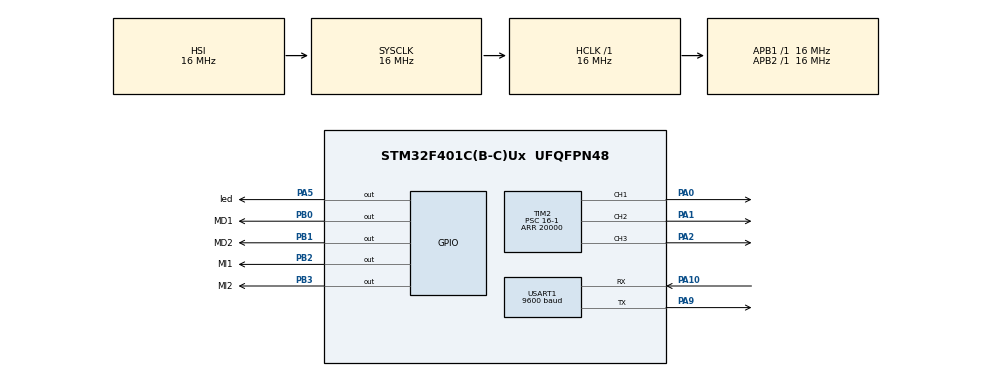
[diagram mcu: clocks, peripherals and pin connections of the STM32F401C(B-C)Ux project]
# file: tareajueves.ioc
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Dma.Request0=USART1_RX
Dma.USART1_RX.0.Direction=DMA_PERIPH_TO_MEMORY
Dma.USART1_RX.0.FIFOMode=DMA_FIFOMODE_DISABLE
Dma.USART1_RX.0.Instance=DMA2_Stream2
Dma.USART1_RX.0.MemDataAlignment=DMA_MDATAALIGN_BYTE
Dma.USART1_RX.0.MemInc=DMA_MINC_ENABLE
Dma.USART1_RX.0.Mode=DMA_NORMAL
Dma.USART1_RX.0.PeriphDataAlignment=DMA_PDATAALIGN_BYTE
Dma.USART1_RX.0.PeriphInc=DMA_PINC_DISABLE
Dma.USART1_RX.0.Priority=DMA_PRIORITY_LOW
Mcu.Family=STM32F4
Mcu.Name=STM32F401C(B-C)Ux
Mcu.Package=UFQFPN48
NVIC.DMA2_Stream2_IRQn=true\:0\:0\:false\:false\:true\:false\:true\:true
NVIC.PriorityGroup=NVIC_PRIORITYGROUP_4
NVIC.USART1_IRQn=true\:0\:0\:false\:false\:true\:true\:true\:true
PA0-WKUP.Signal=S_TIM2_CH1_ETR
PA1.Signal=S_TIM2_CH2
PA10.Mode=Asynchronous
PA10.Signal=USART1_RX
PA2.Signal=S_TIM2_CH3
PA5.GPIO_Label=led
PA5.Signal=GPIO_Output
PA9.Mode=Asynchronous
PA9.Signal=USART1_TX
PB0.GPIO_Label=MD1
PB0.Signal=GPIO_Output
PB1.GPIO_Label=MD2
PB1.Signal=GPIO_Output
PB2.GPIO_Label=MI1
PB2.Signal=GPIO_Output
PB3.GPIO_Label=MI2
PB3.Signal=GPIO_Output
ProjectManager.HeapSize=0x200
ProjectManager.StackSize=0x400
ProjectManager.TargetToolchain=STM32CubeIDE
RCC.AHBFreq_Value=16000000
RCC.APB1Freq_Value=16000000
RCC.APB2Freq_Value=16000000
RCC.CortexFreq_Value=16000000
RCC.HSE_VALUE=25000000
RCC.HSI_VALUE=16000000
RCC.LSE_VALUE=32768
RCC.SYSCLKFreq_VALUE=16000000
RCC.VCOOutputFreq_Value=192000000
SH.S_TIM2_CH1_ETR.0=TIM2_CH1,PWM Generation1 CH1
SH.S_TIM2_CH2.0=TIM2_CH2,PWM Generation2 CH2
SH.S_TIM2_CH3.0=TIM2_CH3,PWM Generation3 CH3
TIM2.Channel-PWM\ Generation1\ CH1=TIM_CHANNEL_1
TIM2.Channel-PWM\ Generation2\ CH2=TIM_CHANNEL_2
TIM2.Channel-PWM\ Generation3\ CH3=TIM_CHANNEL_3
TIM2.Period=20000
TIM2.Prescaler=16-1
USART1.BaudRate=9600
USART1.VirtualMode=VM_ASYNC
VP_TIM2_VS_ClockSourceINT.Mode=Internal
board=custom

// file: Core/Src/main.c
/* USER CODE BEGIN Header */
/**
  ******************************************************************************
  * @file           : main.c
  * @brief          : Main program body
  ******************************************************************************
  * @attention
  *
  * Copyright (c) 2023 STMicroelectronics.
  * All rights reserved.
  *
  * This software is licensed under terms that can be found in the LICENSE file
  * in the root directory of this software component.
  * If no LICENSE file comes with this software, it is provided AS-IS.
  *
  ******************************************************************************
  */
/* USER CODE END Header */
#include "main.h"

/* USER CODE BEGIN Includes */
#include "uart.h"
#include  "PWM.h"
#include "servos.h"
#include "delays.h"

#include "stdlib.h"
#include "stdint.h"
#include "stdio.h"
#include "string.h"

/* USER CODE END Includes */

TIM_HandleTypeDef htim2;

UART_HandleTypeDef huart1;
DMA_HandleTypeDef hdma_usart1_rx;

/* USER CODE BEGIN PV */
uint8_t trama_rx[100];
uint8_t texto[100];
uint8_t captura[30];
float  valor;
char flag_rx=0;
//Variables de reccion serial
#define buff_size 100  //colocar tamaño buffer recepcion
uint16_t buff_RX=buff_size;
uint8_t trama_rx[buff_size];

/* USER CODE END PV */

void SystemClock_Config(void);
static void MX_GPIO_Init(void);
static void MX_DMA_Init(void);
static void MX_TIM2_Init(void);
static void MX_USART1_UART_Init(void);

/* USER CODE BEGIN 0 */
void md_atras()
{
	HAL_GPIO_WritePin(MD1_GPIO_Port, MD1_Pin, 0);
	HAL_GPIO_WritePin(MD2_GPIO_Port, MD2_Pin, 1);

}

void md_adelante()
{
	HAL_GPIO_WritePin(MD1_GPIO_Port, MD1_Pin, 1);
	HAL_GPIO_WritePin(MD2_GPIO_Port, MD2_Pin, 0);

}

void md_stop()
{
	HAL_GPIO_WritePin(MD1_GPIO_Port, MD1_Pin, 0);
	HAL_GPIO_WritePin(MD2_GPIO_Port, MD2_Pin, 0);

}

void mi_adelante()
{
	HAL_GPIO_WritePin(MI1_GPIO_Port, MI1_Pin, 0);
	HAL_GPIO_WritePin(MI2_GPIO_Port, MI2_Pin, 1);

}

void mi_atras()
{
	HAL_GPIO_WritePin(MI1_GPIO_Port, MI1_Pin, 1);
	HAL_GPIO_WritePin(MI2_GPIO_Port, MI2_Pin, 0);

}

void mi_stop()
{
	HAL_GPIO_WritePin(MI1_GPIO_Port, MI1_Pin, 0);
	HAL_GPIO_WritePin(MI2_GPIO_Port, MI2_Pin, 0);

}

void ADELANTE()
{
	md_adelante();
	mi_adelante();
}

void ATRAS()
{
	md_atras();
	mi_atras();
}

void DERECHA()
{
	md_atras();
	mi_adelante();

}

void IZQUIERDA()
{
	md_adelante();
	mi_atras();

}

void stop ()
{
	md_stop();
	mi_stop();
}
void procesarx()
{
	if (strstr(trama_rx,"ADEL")) ADELANTE();
	else if (strstr(trama_rx,"ATRA")) ATRAS();
	else if (strstr(trama_rx,"STOP")) stop();
	else if (strstr(trama_rx,"DER"))
		{
		DERECHA();
		HAL_Delay(50);
		stop();
		}
	else if (strstr(trama_rx,"IZQ"))
		{
		IZQUIERDA();
		HAL_Delay(50);
	    stop();
		}

//VEL=50/*
	else if (strstr(trama_rx,"VEL="))
	{
      strcpy(texto, strtok(trama_rx, "="));  //inicia captura de tokens
      strcpy(texto, strtok(0, "/"));  //captura primer dato
       valor=atoi(texto)+atof(texto);
        pwm_valor(&PWM1, valor);
         pwm_valor(&PWM2, valor);

       	}
//SER=30/*
	else if (strstr(trama_rx,"SER="))
		{
	      strcpy(texto, strtok(trama_rx, "="));  //inicia captura de tokens
	      strcpy(texto, strtok(0, "/"));  //captura primer dato
	       valor=atoi(texto);
	       SERVO_ANG(&SERVO1, valor);

	       	}

}

/* USER CODE END 0 */

int main(void)
{

  /* MCU Configuration--------------------------------------------------------*/

  /* Reset of all peripherals, Initializes the Flash interface and the Systick. */
  HAL_Init();

  /* Configure the system clock */
  SystemClock_Config();

  /* Initialize all configured peripherals */
  MX_GPIO_Init();
  MX_DMA_Init();
  MX_TIM2_Init();
  MX_USART1_UART_Init();
  /* USER CODE BEGIN 2 */

  PWM_init(&PWMT2, PWM1_CH);
  PWM_init(&PWMT2, PWM2_CH);

  SERVO_init(&PWMT2, SERVO1_CH);

   pwm_valor(&PWM1,100);
   pwm_valor(&PWM2, 100);

   SERVO_ANG(&SERVO1, 0);

   memset(trama_rx,0,buff_RX);//limpia trama de recepcion por idle
   HAL_UARTEx_ReceiveToIdle_IT(&huart1, (uint8_t*)trama_rx, buff_RX);//inica la recepcion por idle

  /* USER CODE END 2 */

  /* Infinite loop */
  /* USER CODE BEGIN WHILE */
  while (1)
  {

	  //uartx_read_text(&huart1, trama_rx, '*',50);
	  if(flag_rx==1){
		  procesarx();
		  flag_rx=0;
		  memset(trama_rx,0,buff_RX);
		  HAL_UARTEx_ReceiveToIdle_IT(&huart1, (uint8_t*)trama_rx, buff_RX);
	  }
	  uartx_write_text(&huart1, "Hola");
	  HAL_GPIO_TogglePin(led_GPIO_Port, led_Pin);
	  HAL_Delay(200);

    /* USER CODE END WHILE */

  }
}

void SystemClock_Config(void)
{
  RCC_OscInitTypeDef RCC_OscInitStruct = {0};
  RCC_ClkInitTypeDef RCC_ClkInitStruct = {0};

  /** Configure the main internal regulator output voltage
  */
  __HAL_RCC_PWR_CLK_ENABLE();
  __HAL_PWR_VOLTAGESCALING_CONFIG(PWR_REGULATOR_VOLTAGE_SCALE2);

  /** Initializes the RCC Oscillators according to the specified parameters
  * in the RCC_OscInitTypeDef structure.
  */
  RCC_OscInitStruct.OscillatorType = RCC_OSCILLATORTYPE_HSI;
  RCC_OscInitStruct.HSIState = RCC_HSI_ON;
  RCC_OscInitStruct.HSICalibrationValue = RCC_HSICALIBRATION_DEFAULT;
  RCC_OscInitStruct.PLL.PLLState = RCC_PLL_NONE;
  if (HAL_RCC_OscConfig(&RCC_OscInitStruct) != HAL_OK)
  {
    Error_Handler();
  }

  /** Initializes the CPU, AHB and APB buses clocks
  */
  RCC_ClkInitStruct.ClockType = RCC_CLOCKTYPE_HCLK|RCC_CLOCKTYPE_SYSCLK
                              |RCC_CLOCKTYPE_PCLK1|RCC_CLOCKTYPE_PCLK2;
  RCC_ClkInitStruct.SYSCLKSource = RCC_SYSCLKSOURCE_HSI;
  RCC_ClkInitStruct.AHBCLKDivider = RCC_SYSCLK_DIV1;
  RCC_ClkInitStruct.APB1CLKDivider = RCC_HCLK_DIV1;
  RCC_ClkInitStruct.APB2CLKDivider = RCC_HCLK_DIV1;

  if (HAL_RCC_ClockConfig(&RCC_ClkInitStruct, FLASH_LATENCY_0) != HAL_OK)
  {
    Error_Handler();
  }
}

static void MX_TIM2_Init(void)
{

  TIM_ClockConfigTypeDef sClockSourceConfig = {0};
  TIM_MasterConfigTypeDef sMasterConfig = {0};
  TIM_OC_InitTypeDef sConfigOC = {0};

  htim2.Instance = TIM2;
  htim2.Init.Prescaler = 16-1;
  htim2.Init.CounterMode = TIM_COUNTERMODE_UP;
  htim2.Init.Period = 20000;
  htim2.Init.ClockDivision = TIM_CLOCKDIVISION_DIV1;
  htim2.Init.AutoReloadPreload = TIM_AUTORELOAD_PRELOAD_DISABLE;
  if (HAL_TIM_Base_Init(&htim2) != HAL_OK)
  {
    Error_Handler();
  }
  sClockSourceConfig.ClockSource = TIM_CLOCKSOURCE_INTERNAL;
  if (HAL_TIM_ConfigClockSource(&htim2, &sClockSourceConfig) != HAL_OK)
  {
    Error_Handler();
  }
  if (HAL_TIM_PWM_Init(&htim2) != HAL_OK)
  {
    Error_Handler();
  }
  sMasterConfig.MasterOutputTrigger = TIM_TRGO_RESET;
  sMasterConfig.MasterSlaveMode = TIM_MASTERSLAVEMODE_DISABLE;
  if (HAL_TIMEx_MasterConfigSynchronization(&htim2, &sMasterConfig) != HAL_OK)
  {
    Error_Handler();
  }
  sConfigOC.OCMode = TIM_OCMODE_PWM1;
  sConfigOC.Pulse = 0;
  sConfigOC.OCPolarity = TIM_OCPOLARITY_HIGH;
  sConfigOC.OCFastMode = TIM_OCFAST_DISABLE;
  if (HAL_TIM_PWM_ConfigChannel(&htim2, &sConfigOC, TIM_CHANNEL_1) != HAL_OK)
  {
    Error_Handler();
  }
  if (HAL_TIM_PWM_ConfigChannel(&htim2, &sConfigOC, TIM_CHANNEL_2) != HAL_OK)
  {
    Error_Handler();
  }
  if (HAL_TIM_PWM_ConfigChannel(&htim2, &sConfigOC, TIM_CHANNEL_3) != HAL_OK)
  {
    Error_Handler();
  }
  HAL_TIM_MspPostInit(&htim2);

}

static void MX_USART1_UART_Init(void)
{

  huart1.Instance = USART1;
  huart1.Init.BaudRate = 9600;
  huart1.Init.WordLength = UART_WORDLENGTH_8B;
  huart1.Init.StopBits = UART_STOPBITS_1;
  huart1.Init.Parity = UART_PARITY_NONE;
  huart1.Init.Mode = UART_MODE_TX_RX;
  huart1.Init.HwFlowCtl = UART_HWCONTROL_NONE;
  huart1.Init.OverSampling = UART_OVERSAMPLING_16;
  if (HAL_UART_Init(&huart1) != HAL_OK)
  {
    Error_Handler();
  }

}

static void MX_DMA_Init(void)
{

  /* DMA controller clock enable */
  __HAL_RCC_DMA2_CLK_ENABLE();

  /* DMA interrupt init */
  /* DMA2_Stream2_IRQn interrupt configuration */
  HAL_NVIC_SetPriority(DMA2_Stream2_IRQn, 0, 0);
  HAL_NVIC_EnableIRQ(DMA2_Stream2_IRQn);

}

static void MX_GPIO_Init(void)
{
  GPIO_InitTypeDef GPIO_InitStruct = {0};

  /* GPIO Ports Clock Enable */
  __HAL_RCC_GPIOA_CLK_ENABLE();
  __HAL_RCC_GPIOB_CLK_ENABLE();

  /*Configure GPIO pin Output Level */
  HAL_GPIO_WritePin(led_GPIO_Port, led_Pin, GPIO_PIN_RESET);

  /*Configure GPIO pin Output Level */
  HAL_GPIO_WritePin(GPIOB, MD1_Pin|MD2_Pin|MI1_Pin|MI2_Pin, GPIO_PIN_RESET);

  /*Configure GPIO pin : led_Pin */
  GPIO_InitStruct.Pin = led_Pin;
  GPIO_InitStruct.Mode = GPIO_MODE_OUTPUT_PP;
  GPIO_InitStruct.Pull = GPIO_NOPULL;
  GPIO_InitStruct.Speed = GPIO_SPEED_FREQ_LOW;
  HAL_GPIO_Init(led_GPIO_Port, &GPIO_InitStruct);

  /*Configure GPIO pins : MD1_Pin MD2_Pin MI1_Pin MI2_Pin */
  GPIO_InitStruct.Pin = MD1_Pin|MD2_Pin|MI1_Pin|MI2_Pin;
  GPIO_InitStruct.Mode = GPIO_MODE_OUTPUT_PP;
  GPIO_InitStruct.Pull = GPIO_NOPULL;
  GPIO_InitStruct.Speed = GPIO_SPEED_FREQ_LOW;
  HAL_GPIO_Init(GPIOB, &GPIO_InitStruct);

}

void Error_Handler(void)
{
  __disable_irq();
  while (1)
  {
  }
}
